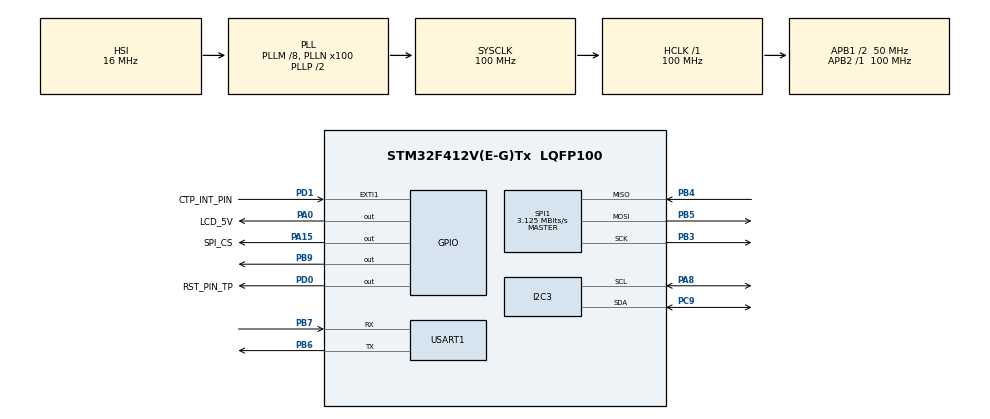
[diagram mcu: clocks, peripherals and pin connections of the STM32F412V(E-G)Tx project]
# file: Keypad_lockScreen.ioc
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Mcu.Family=STM32F4
Mcu.Name=STM32F412V(E-G)Tx
Mcu.Package=LQFP100
NVIC.EXTI1_IRQn=true\:0\:0\:false\:false\:true\:true\:true\:true
NVIC.PriorityGroup=NVIC_PRIORITYGROUP_4
NVIC.RCC_IRQn=true\:0\:0\:false\:false\:true\:true\:false\:true
PA0.GPIO_Label=LCD_5V
PA0.Signal=GPIO_Output
PA13.Mode=Serial_Wire
PA13.Signal=SYS_JTMS-SWDIO
PA14.Mode=Serial_Wire
PA14.Signal=SYS_JTCK-SWCLK
PA15.GPIO_Label=SPI_CS
PA15.Signal=GPIO_Output
PA8.Mode=I2C
PA8.Signal=I2C3_SCL
PB3.Mode=Full_Duplex_Master
PB3.Signal=SPI1_SCK
PB4.Mode=Full_Duplex_Master
PB4.Signal=SPI1_MISO
PB5.Mode=Full_Duplex_Master
PB5.Signal=SPI1_MOSI
PB6.Mode=Asynchronous
PB6.Signal=USART1_TX
PB7.Mode=Asynchronous
PB7.Signal=USART1_RX
PB9.Signal=GPIO_Output
PC9.Mode=I2C
PC9.Signal=I2C3_SDA
PD0.GPIO_Label=RST_PIN_TP
PD0.Signal=GPIO_Output
PD1.GPIO_Label=CTP_INT_PIN
PD1.Signal=GPXTI1
PH0\ -\ OSC_IN.Mode=HSE-External-Oscillator
PH0\ -\ OSC_IN.Signal=RCC_OSC_IN
PH1\ -\ OSC_OUT.Mode=HSE-External-Oscillator
PH1\ -\ OSC_OUT.Signal=RCC_OSC_OUT
ProjectManager.HeapSize=0x200
ProjectManager.StackSize=0x400
ProjectManager.TargetToolchain=STM32CubeIDE
RCC.AHBFreq_Value=100000000
RCC.APB1CLKDivider=RCC_HCLK_DIV2
RCC.APB1Freq_Value=50000000
RCC.APB1TimFreq_Value=100000000
RCC.APB2Freq_Value=100000000
RCC.APB2TimFreq_Value=100000000
RCC.CortexFreq_Value=100000000
RCC.HCLKFreq_Value=100000000
RCC.PLLM=8
RCC.PLLN=100
RCC.SYSCLKFreq_VALUE=100000000
RCC.SYSCLKSource=RCC_SYSCLKSOURCE_PLLCLK
RCC.USBFreq_Value=100000000
RCC.VCOOutputFreq_Value=200000000
SPI1.BaudRatePrescaler=SPI_BAUDRATEPRESCALER_32
SPI1.CLKPhase=SPI_PHASE_2EDGE
SPI1.CLKPolarity=SPI_POLARITY_HIGH
SPI1.CalculateBaudRate=3.125 MBits/s
SPI1.Direction=SPI_DIRECTION_2LINES
SPI1.Mode=SPI_MODE_MASTER
SPI1.VirtualType=VM_MASTER
USART1.VirtualMode=VM_ASYNC
board=custom

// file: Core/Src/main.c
/* USER CODE BEGIN Header */
/**
  ******************************************************************************
  * @file           : main.c
  * @brief          : Main program body
  ******************************************************************************
  * @attention
  *
  * Copyright (c) 2023 STMicroelectronics.
  * All rights reserved.
  *
  * This software is licensed under terms that can be found in the LICENSE file
  * in the root directory of this software component.
  * If no LICENSE file comes with this software, it is provided AS-IS.
  *
  ******************************************************************************
  */
/* USER CODE END Header */
#include "main.h"
#include "i2c.h"
#include "spi.h"
#include "usart.h"
#include "gpio.h"

/* USER CODE BEGIN Includes */
#include "LT768_Lib.h"
#include "math.h"
#include "stdint.h"
#include "touch_gtxxxx.h"
#include "string.h"
/* USER CODE END Includes */

/* USER CODE BEGIN PD */
#define DEBUG_ON		0
#define PASSWORD_LENGTH 4
/* USER CODE END PD */

/* USER CODE BEGIN PV */
extern uint8_t PwmControl;
extern point_coor point;
uint16_t widgetDelay = 150;
char numToString[1],password[PASSWORD_LENGTH + 1];
uint8_t stored_password[PASSWORD_LENGTH+1] = {2,6,5,7} ;
uint16_t xStart, yStart, x_jump, y_jump;
uint8_t password_length  = 0;
uint16_t numx = 8, numy = 58, passwordStart,passRemoveRegion,clearDigitScreen_x1,clearDigitScreen_x2;
uint16_t rawDigitStart; //to store start x coordinate for displaying pass, and used in clearing screen to get
						//gain the exact start position.

/* USER CODE END PV */

void SystemClock_Config(void);
/* USER CODE BEGIN PFP */
void drawKeyPad(int x , int y,uint8_t pwl);
void int_to_string(char *result, int num);
void Keypad_storePassword(uint8_t PW);
void remove_last_entry_from_password();
void check_Password();
void initiate_mainScreen();
void clear_password();
void updatewidget(uint8_t circleNum);

#if DEBUG_ON == 1
#ifdef __GNUC__
#define PUTCHAR_PROTOTYPE int __io_putchar(int ch)
#else
#define PUTCHAR_PROTOTYPE int fputc(int ch, FILE *f)
#endif

PUTCHAR_PROTOTYPE
{
  HAL_UART_Transmit(&huart1, (uint8_t *)&ch, 1, HAL_MAX_DELAY);
  return ch;
}

#endif
/* USER CODE END PFP */

int main(void)
{

  /* MCU Configuration--------------------------------------------------------*/

  /* Reset of all peripherals, Initializes the Flash interface and the Systick. */
  HAL_Init();

  /* Configure the system clock */
  SystemClock_Config();

  /* Initialize all configured peripherals */
  MX_GPIO_Init();
  MX_SPI1_Init();
  MX_USART1_UART_Init();
  MX_I2C3_Init();
  /* USER CODE BEGIN 2 */
  // 5 volt for the LCD to get ON
  HAL_GPIO_WritePin(GPIOA, LCD_5V_Pin, GPIO_PIN_SET);
  /*LCD initialization */
    LT768_Init();
  	Select_SFI_Dual_Mode0();
  	LT768_PWM0_Init(1,0,200,100,0);
  	LT768_PWM1_Init(1,0,200,100,PwmControl);
  	CTP_Init_Panel(); //touch panel
  	Display_ON(); //turn on display
  	LT768_setMainWindow();
  	//Main Screen Heading
  	LT768_DrawCircleSquare_Fill(158, 15, 590, 67,25, 25, MSColor);
  	LT768_DrawCircleSquare_Fill(513, 15, 641, 67,25, 25, MSIndicator);
  	LT768_DrawLeftUpCurve_Fill(540, 67, 60, 52, White);
  	LT768_DrawLeftUpCurve_Fill(540, 67, 48, 52, MSIndicator);
  	LT768_Select_Internal_Font_Init(32, 1, 1, 1, 1);
  	//Fonts Writing
  	LT768_Print_Internal_Font_String(187, 25, White, White, "INSTRUMENT AIR");
  	LT768_Select_Internal_Font_Init(24, 1, 1, 1, 1);
  	LT768_Print_Internal_Font_String(530, 30, White, White, "NORMAL");

  	/*
  	 * KeyPad Scanner
  	 * pass the starting x and y address
  	 */
  	drawKeyPad(317 , 150, PASSWORD_LENGTH);

  /* USER CODE END 2 */

  /* Infinite loop */
  /* USER CODE BEGIN WHILE */
  uint16_t x1 = 11,y1 = 14,x2 = 68,y2 = 72;
  while (1)
  {
	 if((point.input_x >= (xStart+x1) && point.input_y >= (yStart+y1) ) &&
			 ( point.input_x < (xStart+x2) && point.input_y < (yStart+y2)) )
			  {
				  point.input_x=0;
				  point.input_y=0;
				  updatewidget(1);
				  Keypad_storePassword(1);
			  }
		  //touch detection for 2
		  else if((point.input_x >= (xStart+x1+77) && point.input_y >= (yStart+y1) ) &&
				 ( point.input_x < (xStart+x2+77) && point.input_y < (yStart+y2)) )
				  {
					  point.input_x=0;
					  point.input_y=0;
					  updatewidget(2);
					  Keypad_storePassword(2);
					}
		  //touch detection for 3
		  else if((point.input_x >= (xStart+x1+154) && point.input_y >= (yStart+y1) ) &&
				 ( point.input_x < (xStart+x2+154) && point.input_y < (yStart+y2)) )
				  {
					  point.input_x=0;
					  point.input_y=0;
					  updatewidget(3);
					  Keypad_storePassword(3);
					}
		  //touch detection for 4
		  else if((point.input_x >= (xStart+x1) && point.input_y >= (yStart+y2+10) ) &&
				 ( point.input_x < (xStart+x2) && point.input_y < (yStart+y2+66)) )
				  {
					  point.input_x=0;
					  point.input_y=0;
					  updatewidget(4);
					  Keypad_storePassword(4);
					}
		  //touch detection for 5
		  else if((point.input_x >= (xStart+x1+77) && point.input_y >= (yStart+y2+10) ) &&
				 ( point.input_x < (xStart+x2+77) && point.input_y < (yStart+y2+66)) )
				  {
					  point.input_x=0;
					  point.input_y=0;
					  updatewidget(5);
					  Keypad_storePassword(5);
					}
		  //touch detection for 6
		  else if((point.input_x >= (xStart+x1+154) && point.input_y >= (yStart+y2+10) ) &&
				 ( point.input_x < (xStart+x2+154) && point.input_y < (yStart+y2+66)) )
				  {
					  point.input_x=0;
					  point.input_y=0;
					  updatewidget(6);
					  Keypad_storePassword(6);
					}
		  //touch detection for 7
		  else if((point.input_x >= (xStart+x1) && point.input_y >= (yStart+y2+76) ) &&
				 ( point.input_x < (xStart+x2) && point.input_y < (yStart+y2+132)) )
				  {
					  point.input_x=0;
					  point.input_y=0;
					  updatewidget(7);
					  Keypad_storePassword(7);
					}
		  //touch detection for 8
		  else if((point.input_x >= (xStart+x1+77) && point.input_y >= (yStart+y2+76) ) &&
				 ( point.input_x < (xStart+x2+77) && point.input_y < (yStart+y2+132)) )
				  {
					  point.input_x=0;
					  point.input_y=0;
					  updatewidget(8);
					  Keypad_storePassword(8);
					}
		  //touch detection for 9
		  else if((point.input_x >= (xStart+x1+154) && point.input_y >= (yStart+y2+76) ) &&
				 ( point.input_x < (xStart+x2+154) && point.input_y < (yStart+y2+132)) )
				  {
					  point.input_x=0;
					  point.input_y=0;
					  updatewidget(9);
					  Keypad_storePassword(9);
					}

		  //touch detection for 0
		  else if((point.input_x >= (xStart+x1+77) && point.input_y >= (yStart+y2+142) ) &&
				 ( point.input_x < (xStart+x2+77) && point.input_y < (yStart+y2+198)) )
				  {
					  point.input_x=0;
					  point.input_y=0;
					  updatewidget(11);  //11 indicating as 0
					  Keypad_storePassword(0);
					}

	 //touch detection for x
	  if((point.input_x >= (xStart+x1) && point.input_y >= (yStart+y2+142) ) &&
		 ( point.input_x < (xStart+x2) && point.input_y < (yStart+y2+198)) )
		  {
			  point.input_x=0;
			  point.input_y=0;
			  updatewidget(10);
			  remove_last_entry_from_password();
			}

	//touch detection for Enter
	  else if((point.input_x >= (xStart+x1+154) && point.input_y >= (yStart+y2+142) ) &&
			 ( point.input_x < (xStart+x2+154) && point.input_y < (yStart+y2+198)) )
			  {
				  point.input_x=0;
				  point.input_y=0;
				  updatewidget(12);
				  check_Password();

				}

    /* USER CODE END WHILE */

  }
}

void SystemClock_Config(void)
{
  RCC_OscInitTypeDef RCC_OscInitStruct = {0};
  RCC_ClkInitTypeDef RCC_ClkInitStruct = {0};

  /** Configure the main internal regulator output voltage
  */
  __HAL_RCC_PWR_CLK_ENABLE();
  __HAL_PWR_VOLTAGESCALING_CONFIG(PWR_REGULATOR_VOLTAGE_SCALE1);

  /** Initializes the RCC Oscillators according to the specified parameters
  * in the RCC_OscInitTypeDef structure.
  */
  RCC_OscInitStruct.OscillatorType = RCC_OSCILLATORTYPE_HSI;
  RCC_OscInitStruct.HSIState = RCC_HSI_ON;
  RCC_OscInitStruct.HSICalibrationValue = RCC_HSICALIBRATION_DEFAULT;
  RCC_OscInitStruct.PLL.PLLState = RCC_PLL_ON;
  RCC_OscInitStruct.PLL.PLLSource = RCC_PLLSOURCE_HSI;
  RCC_OscInitStruct.PLL.PLLM = 8;
  RCC_OscInitStruct.PLL.PLLN = 100;
  RCC_OscInitStruct.PLL.PLLP = RCC_PLLP_DIV2;
  RCC_OscInitStruct.PLL.PLLQ = 2;
  RCC_OscInitStruct.PLL.PLLR = 2;
  if (HAL_RCC_OscConfig(&RCC_OscInitStruct) != HAL_OK)
  {
    Error_Handler();
  }

  /** Initializes the CPU, AHB and APB buses clocks
  */
  RCC_ClkInitStruct.ClockType = RCC_CLOCKTYPE_HCLK|RCC_CLOCKTYPE_SYSCLK
                              |RCC_CLOCKTYPE_PCLK1|RCC_CLOCKTYPE_PCLK2;
  RCC_ClkInitStruct.SYSCLKSource = RCC_SYSCLKSOURCE_PLLCLK;
  RCC_ClkInitStruct.AHBCLKDivider = RCC_SYSCLK_DIV1;
  RCC_ClkInitStruct.APB1CLKDivider = RCC_HCLK_DIV2;
  RCC_ClkInitStruct.APB2CLKDivider = RCC_HCLK_DIV1;

  if (HAL_RCC_ClockConfig(&RCC_ClkInitStruct, FLASH_LATENCY_3) != HAL_OK)
  {
    Error_Handler();
  }
}

/* USER CODE BEGIN 4 */
void drawKeyPad(int x , int y,uint8_t pwl)
{
	xStart = x , yStart = y, x_jump = 40, y_jump = 43;
	int xEnd = x + 212 , yEnd = y + 284;
	uint8_t fillCount = 0,countnum = 1 ,count = 0, num = 1, checknum = 1;
	uint8_t line = pwl;  //for password entires
	/*
	 * updating password lines according to passward length
	 */
	if(0 == (line % 2))
		{
			//if password length is even
			uint8_t y1_2 = 22;
			uint16_t centerRec = xStart + 106;
			uint16_t x1 = 11, x2 = x1+32;
			line /= 2;
			uint8_t temp = line;
			while(line--)    //first half to the right from the center
			{
				LT768_DrawLine_Width((centerRec + x1), (yStart - y1_2) , (centerRec + x2) , (yStart - y1_2), White, 4);
				if(!line)	clearDigitScreen_x2 = (centerRec + x2);
				x1+=54;
				x2+=54;
			}
			x1 = centerRec-11, x2 = x1-32;
			while(temp--) //second half to the left from center
			{
				LT768_DrawLine_Width(x1, (yStart - y1_2) , x2 , (yStart - y1_2), White, 4);
				if(!temp)
					{
						clearDigitScreen_x1 = x2; //to remove the digits
						passwordStart = x2 ;
					}
				x1-=54;
				x2-=54;
			}

		}
	else
		{
			uint8_t y1_2 = 22;
			uint16_t centerRec = xStart + 106;
			uint16_t x1 = centerRec-16, x2 = centerRec+16;
			LT768_DrawLine_Width(x1, (yStart - y1_2) , x2 , (yStart - y1_2), White, 4); //centerd bar
			if(line>1)
			{
				line--;
				line /= 2;
				uint8_t temp = line;
				x1 -= 22;		//starting x-point of bars in the left direction from center
				x2 = (x1-32); //starting y-point of bars in the left direction	from center
				while(line--)
				{
					LT768_DrawLine_Width(x1, (yStart - y1_2) , x2 , (yStart - y1_2), White, 4);
					if(!(line))
						{
							clearDigitScreen_x1 = x2; //to remove the digits
							passwordStart = x2; // will be the start address of of first digit on the display
						}
					x1 -= 54;
					x2 -= 54;
				}
				x1 = ((centerRec+16)+22);  //starting x-point of bars in the right direction from center
				x2 = (x1 + 32);			//starting y-point of bars in the right direction from center
				while(temp--)
				{
					LT768_DrawLine_Width(x1, (yStart - y1_2) , x2 , (yStart - y1_2), White, 4);
					if(!temp)	clearDigitScreen_x2 =  x2;
					x1 += 54;
					x2 += 54;
				}

			}
			else
				{
					clearDigitScreen_x1 = x1; //to remove the digits
					clearDigitScreen_x2 = x2;
					passwordStart = x1; //in case if user chooses only 1 digit for password
				}

		}

	rawDigitStart = passwordStart; //to store the x-start point for displaying digits.
	/*
	 * Drawing keypad
	 */
	LT768_DrawCircleSquare_Width(xStart, yStart, xEnd, yEnd, 16, 16, White, BGcolor, 1);
	LT768_Select_Internal_Font_Init(32, 1, 1, 1, 1);
	while(count<12)
	{
		LT768_DrawCircle_Width(xStart + x_jump, yStart + y_jump , 29, White, BGcolor, 1);
		count++;
		if(!(countnum%4))
			{
				checknum += 1;
				num = checknum ;
				if(fillCount == 0)
				{
					LT768_DrawLine_Width((xStart + 34), (yStart + 250), (xStart + 46), (yStart + 237), White, 3);
					LT768_DrawLine_Width((xStart + 46), (yStart + 250), (xStart + 34), (yStart + 237), White, 3);
				}
				else if(fillCount == 1)
				{
					LT768_Print_Internal_Font_String(((xStart + x_jump) - 8), ((yStart + y_jump)-15), White, Black,"0");
				}
				else if(fillCount == 2)
				{
					//todo
				}
				fillCount++;
			}
		else
		{
			int_to_string(numToString, num);
			LT768_Print_Internal_Font_String(((xStart + x_jump) - 8), ((yStart + y_jump)-15), White, Black,numToString);
			num+=3;
		}
		y_jump += 67;
		countnum++;
		if(!(count%4))
			{
				x_jump += 67;
				y_jump = 43;
			}

	}

}

void int_to_string(char *result, int num)
{
  sprintf(result, "%d", num);
}
void Keypad_storePassword(uint8_t PW)
{
	if (password_length < PASSWORD_LENGTH)
	{
		LT768_Select_Internal_Font_Init(32, 1, 1, 1, 1);
		password[password_length] = PW;
		LT768_Print_Internal_Font_String(passwordStart+numx, yStart-numy, White, 0,"*");
		passRemoveRegion = ((passwordStart+numx) - 8);
		numx+=54;
		password_length++;
	}
	else if(password_length == (PASSWORD_LENGTH+1))
		{
			password_length = 0;
			numx = 8;
		}

}

void remove_last_entry_from_password()
{
	if (password_length > 0)
		{
			password_length--;
			password[password_length] = '\0'; // set last character to null terminator
			LT768_DrawSquare_Fill(passRemoveRegion, yStart-(numy+5), passRemoveRegion+32, yStart-27, BGcolor);
			passwordStart -= 54;
			passRemoveRegion -= 54;
		}
}

void check_Password()
{
	if (password_length == PASSWORD_LENGTH) { // we'll make sure password is fully entered
	    if (memcmp(password, stored_password, PASSWORD_LENGTH) == 0)
	    {
	      // password is correct
	      initiate_mainScreen();
	    }
	    else
	    {
	      clear_password();
	    }
	  }
}

void clear_password()
{
	for (int i = 0; i < PASSWORD_LENGTH; i++)
		{
	    	password[i] = '\0'; //fill all the spaces with null character
		}
	  password_length = 0;
	  LT768_DrawSquare_Fill(clearDigitScreen_x1, yStart-(numy+5), clearDigitScreen_x2, yStart-27, BGcolor);
	  passwordStart = rawDigitStart;
	  numx = 8; //starting distance of digit from the start of line

}
void initiate_mainScreen()
{
	LT768_DrawSquare_Fill(0, 0, 800, 480, White);
	LT768_Select_Internal_Font_Init(32, 2, 2, 1, 1);
	LT768_Print_Internal_Font_String(300, 220, Black, 0, "We are working on it! have patience!");
	while(1);

}
void updatewidget(uint8_t circleNum)
{
	LT768_Select_Internal_Font_Init(32, 1,1, 1, 1);
	int_to_string(numToString, circleNum);
	if(circleNum == 1 || circleNum == 2 || circleNum == 3 )
		{
			LT768_DrawCircle_Width(xStart + (40 * circleNum) + (27 *(circleNum-1)), (yStart + 43) , 29, White, DarkGrey, 1);
			LT768_Print_Internal_Font_String((xStart + (40 * circleNum) + (27 *(circleNum-1)))-8, yStart+28, White, 0, numToString);
			HAL_Delay(widgetDelay);
			LT768_DrawCircle_Width(xStart + (40 * circleNum) + (27 *(circleNum-1)), (yStart + 43) , 29, White, BGcolor, 1);
			LT768_Print_Internal_Font_String((xStart + (40 * circleNum) + (27 *(circleNum-1)))-8, yStart+28, White, 0, numToString);
		}
	else if(circleNum == 4 || circleNum == 5 || circleNum == 6 )
		{
			LT768_DrawCircle_Width(xStart + (40 * (circleNum-3)) + (27 *((circleNum-4))),(yStart + 110)  , 29, White, DarkGrey, 1);
			LT768_Print_Internal_Font_String((xStart + (40 * (circleNum-3)) + (27 *((circleNum-4))))-8, yStart+95, White, 0, numToString);
			HAL_Delay(widgetDelay);
			LT768_DrawCircle_Width(xStart + (40 * (circleNum-3)) + (27 *((circleNum-4))), (yStart + 110) , 29, White, BGcolor, 1);
			LT768_Print_Internal_Font_String((xStart + (40 * (circleNum-3)) + (27 *((circleNum-4))))-8, yStart+95, White, 0, numToString);
		}
	else if(circleNum == 7 || circleNum == 8 || circleNum == 9 )
		{
			LT768_DrawCircle_Width(xStart + (40 * (circleNum-6)) + (27 *((circleNum-7))),(yStart + 177)  , 29, White, DarkGrey, 1);
			LT768_Print_Internal_Font_String((xStart + (40 * (circleNum-6)) + (27 *((circleNum-7))))-8, yStart+162, White, 0, numToString);
			HAL_Delay(widgetDelay);
			LT768_DrawCircle_Width(xStart + (40 * (circleNum-6)) + (27 *((circleNum-7))), (yStart + 177) , 29, White, BGcolor, 1);
			LT768_Print_Internal_Font_String((xStart + (40 * (circleNum-6)) + (27 *((circleNum-7))))-8, yStart+162, White, 0, numToString);
		}
	else if(circleNum == 10 || circleNum == 11 || circleNum == 12 )
			{
				if(circleNum == 11)
				{
					LT768_DrawCircle_Width(xStart + (40 * (circleNum-9)) + (27 *((circleNum-10))),(yStart + 244)  , 29, White, DarkGrey, 1);
					LT768_Print_Internal_Font_String((xStart + (40 * (circleNum-9)) + (27 *((circleNum-10))))-8, yStart+229, White, 0, "0");
					HAL_Delay(widgetDelay);
					LT768_DrawCircle_Width(xStart + (40 * (circleNum-9)) + (27 *((circleNum-10))), (yStart + 244) , 29, White, BGcolor, 1);
					LT768_Print_Internal_Font_String((xStart + (40 * (circleNum-9)) + (27 *((circleNum-10))))-8, yStart+229, White, 0, "0");
				}
				else if(circleNum == 10)
				{
					LT768_DrawCircle_Width(xStart + (40 * (circleNum-9)) + (27 *((circleNum-10))),(yStart + 244)  , 29, White, DarkGrey, 1);
					LT768_DrawLine_Width((xStart + 34), (yStart + 250), (xStart + 46), (yStart + 237), White, 3);
					LT768_DrawLine_Width((xStart + 46), (yStart + 250), (xStart + 34), (yStart + 237), White, 3);
					HAL_Delay(widgetDelay);
					LT768_DrawCircle_Width(xStart + (40 * (circleNum-9)) + (27 *((circleNum-10))), (yStart + 244) , 29, White, BGcolor, 1);
					LT768_DrawLine_Width((xStart + 34), (yStart + 250), (xStart + 46), (yStart + 237), White, 3);
					LT768_DrawLine_Width((xStart + 46), (yStart + 250), (xStart + 34), (yStart + 237), White, 3);
				}
				else
				{
					LT768_DrawCircle_Width(xStart + (40 * (circleNum-9)) + (27 *((circleNum-10))),(yStart + 244)  , 29, White, DarkGrey, 1);
					HAL_Delay(widgetDelay);
					LT768_DrawCircle_Width(xStart + (40 * (circleNum-9)) + (27 *((circleNum-10))), (yStart + 244) , 29, White, BGcolor, 1);
				}
			}

}
/* USER CODE END 4 */

void Error_Handler(void)
{
  __disable_irq();
  while (1)
  {
  }
}
